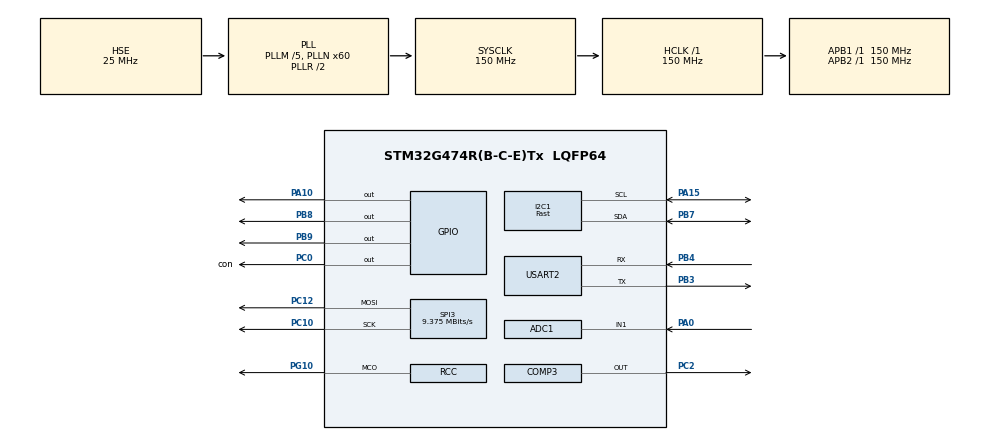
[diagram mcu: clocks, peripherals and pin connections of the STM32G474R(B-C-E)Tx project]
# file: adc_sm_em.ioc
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ADC1.Channel-1\#ChannelRegularConversion=ADC_CHANNEL_1
ADC1.ClockPrescaler=ADC_CLOCK_ASYNC_DIV1
ADC1.ContinuousConvMode=DISABLE
ADC1.ExternalTrigConv=ADC_EXTERNALTRIG_T6_TRGO
ADC1.NbrOfConversion=1
ADC1.NbrOfConversionFlag=1
ADC1.OffsetNumber-1\#ChannelRegularConversion=ADC_OFFSET_NONE
ADC1.Rank-1\#ChannelRegularConversion=1
ADC1.SamplingTime-1\#ChannelRegularConversion=ADC_SAMPLETIME_2CYCLES_5
ADC1.master=1
COMP3.Hysteresis=COMP_HYSTERESIS_70MV
CRC.CRCLength=CRC_POLYLENGTH_16B
CRC.DefaultInitValueUse=DEFAULT_INIT_VALUE_DISABLE
CRC.DefaultPolynomialUse=DEFAULT_POLYNOMIAL_DISABLE
CRC.GeneratingPolynomial=X12+X5+X0
DAC1.DAC_Trigger_OUT1-DAC_OUT1_Int=DAC_TRIGGER_NONE
Dma.ADC1.1.Direction=DMA_PERIPH_TO_MEMORY
Dma.ADC1.1.EventEnable=DISABLE
Dma.ADC1.1.Instance=DMA1_Channel1
Dma.ADC1.1.MemDataAlignment=DMA_MDATAALIGN_HALFWORD
Dma.ADC1.1.MemInc=DMA_MINC_ENABLE
Dma.ADC1.1.Mode=DMA_NORMAL
Dma.ADC1.1.PeriphDataAlignment=DMA_PDATAALIGN_HALFWORD
Dma.ADC1.1.PeriphInc=DMA_PINC_DISABLE
Dma.ADC1.1.Polarity=HAL_DMAMUX_REQ_GEN_RISING
Dma.ADC1.1.Priority=DMA_PRIORITY_LOW
Dma.ADC1.1.RequestNumber=1
Dma.ADC1.1.SignalID=NONE
Dma.ADC1.1.SyncEnable=DISABLE
Dma.ADC1.1.SyncPolarity=HAL_DMAMUX_SYNC_NO_EVENT
Dma.ADC1.1.SyncRequestNumber=1
Dma.ADC1.1.SyncSignalID=NONE
Dma.Request0=USART2_RX
Dma.Request1=ADC1
Dma.Request2=TIM2_CH1
Dma.TIM2_CH1.2.Direction=DMA_PERIPH_TO_MEMORY
Dma.TIM2_CH1.2.EventEnable=DISABLE
Dma.TIM2_CH1.2.Instance=DMA1_Channel2
Dma.TIM2_CH1.2.MemDataAlignment=DMA_MDATAALIGN_WORD
Dma.TIM2_CH1.2.MemInc=DMA_MINC_ENABLE
Dma.TIM2_CH1.2.Mode=DMA_NORMAL
Dma.TIM2_CH1.2.PeriphDataAlignment=DMA_PDATAALIGN_WORD
Dma.TIM2_CH1.2.PeriphInc=DMA_PINC_DISABLE
Dma.TIM2_CH1.2.Polarity=HAL_DMAMUX_REQ_GEN_RISING
Dma.TIM2_CH1.2.Priority=DMA_PRIORITY_HIGH
Dma.TIM2_CH1.2.RequestNumber=1
Dma.TIM2_CH1.2.SignalID=NONE
Dma.TIM2_CH1.2.SyncEnable=DISABLE
Dma.TIM2_CH1.2.SyncPolarity=HAL_DMAMUX_SYNC_NO_EVENT
Dma.TIM2_CH1.2.SyncRequestNumber=1
Dma.TIM2_CH1.2.SyncSignalID=NONE
Dma.USART2_RX.0.Direction=DMA_PERIPH_TO_MEMORY
Dma.USART2_RX.0.EventEnable=DISABLE
Dma.USART2_RX.0.Instance=DMA2_Channel8
Dma.USART2_RX.0.MemDataAlignment=DMA_MDATAALIGN_BYTE
Dma.USART2_RX.0.MemInc=DMA_MINC_ENABLE
Dma.USART2_RX.0.Mode=DMA_NORMAL
Dma.USART2_RX.0.PeriphDataAlignment=DMA_PDATAALIGN_BYTE
Dma.USART2_RX.0.PeriphInc=DMA_PINC_DISABLE
Dma.USART2_RX.0.Polarity=HAL_DMAMUX_REQ_GEN_RISING
Dma.USART2_RX.0.Priority=DMA_PRIORITY_LOW
Dma.USART2_RX.0.RequestNumber=1
Dma.USART2_RX.0.SignalID=NONE
Dma.USART2_RX.0.SyncEnable=DISABLE
Dma.USART2_RX.0.SyncPolarity=HAL_DMAMUX_SYNC_NO_EVENT
Dma.USART2_RX.0.SyncRequestNumber=1
Dma.USART2_RX.0.SyncSignalID=NONE
I2C1.I2C_Speed_Mode=I2C_Fast
I2C1.Timing=0x10E32879
Mcu.Family=STM32G4
Mcu.Name=STM32G474R(B-C-E)Tx
Mcu.Package=LQFP64
NVIC.DMA1_Channel1_IRQn=true\:0\:0\:false\:false\:true\:false\:true\:true
NVIC.DMA1_Channel2_IRQn=true\:0\:0\:false\:false\:true\:false\:true\:true
NVIC.DMA2_Channel8_IRQn=true\:0\:0\:false\:false\:true\:false\:true\:true
NVIC.PriorityGroup=NVIC_PRIORITYGROUP_4
NVIC.USART2_IRQn=true\:0\:0\:false\:false\:true\:true\:true\:true
PA0.Signal=SharedAnalog_PA0
PA10.Signal=GPIO_Output
PA13.Mode=Serial_Wire
PA13.Signal=SYS_JTMS-SWDIO
PA14.Mode=Serial_Wire
PA14.Signal=SYS_JTCK-SWCLK
PA15.Mode=I2C
PA15.Signal=I2C1_SCL
PB3.Mode=Asynchronous
PB3.Signal=USART2_TX
PB4.Mode=Asynchronous
PB4.Signal=USART2_RX
PB7.Mode=I2C
PB7.Signal=I2C1_SDA
PB8-BOOT0.Signal=GPIO_Output
PB9.Signal=GPIO_Output
PC0.GPIO_Label=con
PC0.Signal=GPIO_Output
PC10.Mode=TX_Only_Simplex_Unidirect_Master
PC10.Signal=SPI3_SCK
PC12.Mode=TX_Only_Simplex_Unidirect_Master
PC12.Signal=SPI3_MOSI
PC2.Mode=ExternalOutput
PC2.Signal=COMP3_OUT
PF0-OSC_IN.Mode=HSE-External-Oscillator
PF0-OSC_IN.Signal=RCC_OSC_IN
PF1-OSC_OUT.Mode=HSE-External-Oscillator
PF1-OSC_OUT.Signal=RCC_OSC_OUT
PG10-NRST.Mode=Clock-out
PG10-NRST.Signal=RCC_MCO
ProjectManager.HeapSize=0x200
ProjectManager.StackSize=0x400
ProjectManager.TargetToolchain=STM32CubeIDE
RCC.ADC12CLockSelection=RCC_ADC12CLKSOURCE_PLL
RCC.ADC12Freq_Value=60000000
RCC.ADC345Freq_Value=150000000
RCC.AHBFreq_Value=150000000
RCC.APB1Freq_Value=150000000
RCC.APB1TimFreq_Value=150000000
RCC.APB2Freq_Value=150000000
RCC.APB2TimFreq_Value=150000000
RCC.CortexFreq_Value=150000000
RCC.EXTERNAL_CLOCK_VALUE=12288000
RCC.HCLKFreq_Value=150000000
RCC.HSE_VALUE=25000000
RCC.HSI48_VALUE=48000000
RCC.HSI_VALUE=16000000
RCC.LSE_VALUE=32768
RCC.PLLM=RCC_PLLM_DIV5
RCC.PLLN=60
RCC.PLLP=RCC_PLLP_DIV5
RCC.PLLSourceVirtual=RCC_PLLSOURCE_HSE
RCC.RCC_MCO1Source=RCC_MCO1SOURCE_HSE
RCC.SYSCLKFreq_VALUE=150000000
RCC.SYSCLKSource=RCC_SYSCLKSOURCE_PLLCLK
RCC.USART2CLockSelection=RCC_USART2CLKSOURCE_SYSCLK
RCC.USBFreq_Value=150000000
RCC.VCOOutputFreq_Value=300000000
SH.SharedAnalog_PA0.0=ADC1_IN1,IN1-Single-Ended
SH.SharedAnalog_PA0.1=COMP3_INP,INP
SPI3.BaudRatePrescaler=SPI_BAUDRATEPRESCALER_16
SPI3.CalculateBaudRate=9.375 MBits/s
SPI3.DataSize=SPI_DATASIZE_8BIT
SPI3.Direction=SPI_DIRECTION_2LINES
SPI3.Mode=SPI_MODE_MASTER
SPI3.VirtualType=VM_MASTER
TIM2.Channel-Input_Capture1_from_TI1_REMAP_TIM2=TIM_CHANNEL_1
TIM2.TIM2_TI1_REMAP-Input_Capture1_from_TI1_REMAP_TIM2=TIM_TIM2_TI1_COMP3
TIM6.PeriodNoDither=150-1
TIM6.TIM_MasterOutputTrigger=TIM_TRGO_UPDATE
USART2.VirtualMode-Asynchronous=VM_ASYNC
VP_COMP3_VS_DAC1OUT1.Mode=INM_DAC1OUT1
VP_CRC_VS_CRC.Mode=CRC_Activate
VP_DAC1_VS_DACI1.Mode=DAC_OUT1_Int
VP_SYS_VS_DBSignals.Mode=DisableDeadBatterySignals
VP_TIM2_VS_ClockSourceINT.Mode=Internal
VP_TIM2_VS_NoInput1.Mode=Input_Capture1_from_TI1_REMAP_TIM2
VP_TIM3_VS_ClockSourceINT.Mode=Internal
VP_TIM6_VS_ClockSourceINT.Mode=Enable_Timer
board=custom

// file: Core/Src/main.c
/* USER CODE BEGIN Header */
/**
  ******************************************************************************
  * @file           : main.c
  * @brief          : Main program body
  ******************************************************************************
  * @attention
  *
  * Copyright (c) 2024 STMicroelectronics.
  * All rights reserved.
  *
  * This software is licensed under terms that can be found in the LICENSE file
  * in the root directory of this software component.
  * If no LICENSE file comes with this software, it is provided AS-IS.
  *
  ******************************************************************************
  */
/* USER CODE END Header */
#include "main.h"

/* USER CODE BEGIN Includes */
#include "uart_reg.h"
#include "stm32g4xx_ll_spi.h"
#include "stm32g4xx_ll_gpio.h"
#include "arm_math.h"
#include "measure.h"
/* USER CODE END Includes */

/* USER CODE BEGIN PTD */
float32_t FFT_Input_Q15_f[50];
float32_t aFFT_Input_Q15[50];
#define FFT_Length  1024
/* USER CODE END PTD */

ADC_HandleTypeDef hadc1;
DMA_HandleTypeDef hdma_adc1;

COMP_HandleTypeDef hcomp3;

CRC_HandleTypeDef hcrc;

DAC_HandleTypeDef hdac1;

I2C_HandleTypeDef hi2c1;

SPI_HandleTypeDef hspi3;

TIM_HandleTypeDef htim2;
TIM_HandleTypeDef htim3;
TIM_HandleTypeDef htim6;
DMA_HandleTypeDef hdma_tim2_ch1;

UART_HandleTypeDef huart2;
DMA_HandleTypeDef hdma_usart2_rx;

void SystemClock_Config(void);
static void MX_GPIO_Init(void);
static void MX_DMA_Init(void);
static void MX_CRC_Init(void);
static void MX_USART2_UART_Init(void);
static void MX_ADC1_Init(void);
static void MX_SPI3_Init(void);
static void MX_TIM6_Init(void);
static void MX_I2C1_Init(void);
static void MX_DAC1_Init(void);
static void MX_COMP3_Init(void);
static void MX_TIM3_Init(void);
static void MX_TIM2_Init(void);
/* USER CODE BEGIN PFP */

void gpio_handler(uint8_t* data, size_t size)
{
  // format: PA<0/00-15>:<0/1/A>
  char port_id = data[1];
  int pin_num;
  char level;
  if (data[3] == ':')
  {
    pin_num = data[2] - '0';
    level = data[4];
  }
  else
  {
    pin_num = (data[2]-'0') * 10 + (data[3]-'0');
    level = data[5];
  }
  GPIO_TypeDef* port = 0;
  switch (port_id)
  {
  case 'A':
    port = GPIOA;
    break;
  case 'B':
    port = GPIOB;
    break;
  case 'C':
    port = GPIOC;
    break;
  case 'D':
    port = GPIOD;
    break;
  }
  if (level == '1')
    level = 1;
//  else if (level == 'A')
//    level = 2;
  else
    level = 0;
  if (port)
  {
//    if (level < 2)
//    {
//      LL_GPIO_SetPinMode(port, 1 << pin_num, LL_GPIO_MODE_OUTPUT);
      HAL_GPIO_WritePin(port, 1 << pin_num, level ? GPIO_PIN_SET : GPIO_PIN_RESET);
//    }
//    else
//    {
//      LL_GPIO_SetPinMode(port, 1 << pin_num, LL_GPIO_MODE_ALTERNATE);
//    }
  }
}

void spi_handler(uint8_t* data, size_t size)
{
  SPI_HandleTypeDef* hspi = &hspi3;
  if (data[0] == 'M')
  {
    // format: M<CPOL><CPHA>
    uint32_t cpol = data[1] == '1' ? SPI_POLARITY_HIGH : SPI_POLARITY_LOW;
    uint32_t cpha = data[2] == '1' ? SPI_PHASE_2EDGE : SPI_PHASE_1EDGE;
    LL_SPI_SetClockPolarity(hspi->Instance, cpol);
    LL_SPI_SetClockPhase(hspi->Instance, cpha);
    LL_SPI_Enable(hspi->Instance);
    LL_SPI_Disable(hspi->Instance);
  }
  else if (data[0] == 'W')
  {
    // format: W<CONTENT(binary)>
    HAL_SPI_Transmit(hspi, data+1, size-1, 1000);
  }
//  else if (data[0] == 'R')
//  {
//    // format: R<LENGTH(binary)>
//    // return: <CONTENT(binary)>
//    uint8_t buffer[100];
//    HAL_SPI_Receive(hspi, buffer, data[1], 1000);
//    HAL_UART_Transmit(&huart2, buffer, data[1], 1000);
//  }
}
/*
 * define 2 mode:
 * 1. write: "W" data[0] = 'W' if W: data[1] = addr data[2:] = the content you want to write
 * 2. read: "R" data[0] = 'R' if R: data[1] = addr data[2] = length
 */
void i2c_handler(uint8_t * data, size_t size)
{
	if (data[0] == 'W')
	{
		uint8_t result = 0;
		if (HAL_I2C_Master_Transmit(&hi2c1, data[1], data+2 , size - 2, size) !=  HAL_OK)
		{
			result = -1 ;
		}
		uart_transmit(&result, 1);
	}
	else if (data[0] == 'R')
	{
		uint8_t length = data[2];
		if (length > 16)
			length = 16;
		uint8_t i2c_buffer[17];
		i2c_buffer[0] = 0;

		if (HAL_I2C_Master_Receive(&hi2c1, data[1], i2c_buffer + 1, length , length + 1) != HAL_OK)
		{
			i2c_buffer[0] = -1;
		}
		uart_transmit(i2c_buffer, length + 1);
	}
}
uint8_t adc_buffer[2050];
//int adc_ongoing = 0;
void HAL_ADC_ConvCpltCallback(ADC_HandleTypeDef *hadc)
{
	if (hadc != &hadc1)
		return;
	adc_ongoing = 0;
	HAL_ADC_Stop_DMA(hadc);
	HAL_TIM_Base_Stop(&htim6);
}
uint8_t adc_buffer1[1025] = {0};
uint8_t adc_buffer2[1025] = {0};
uint8_t hello[] = "hello world!";
void split()
{
	for (int i = 0 ; i < 1025; ++i)
	{
		adc_buffer1[i] = adc_buffer[i] >> 8;
		adc_buffer2[i] = adc_buffer[i] & 0x00ff;
	}
}
GPIO_PinState prevalue;
void HAL_TIM_IC_CaptureCallback(TIM_HandleTypeDef *htim)
{
  if (htim == &htim2)
  {
    ic_ongoing = 0;
    HAL_TIM_IC_Stop_DMA(&htim3, TIM_CHANNEL_1);
  }
}
void HAL_TIM_PeriodElapsedCallback (TIM_HandleTypeDef * htim)
{
	if (htim != &htim3)
	{
		return ;
	}
	yichu_counter++;
}
void uart_transmit_f(float freq)
{
	uint8_t freq_8[4];
	uint32_t tmp = (int)(freq * 1e6);
	freq_8[0] = (tmp >> 24) & 0xFF;
	freq_8[1] = (tmp >> 16) & 0xFF;
	freq_8[2] = (tmp >> 8) & 0xFF;
	freq_8[3] = tmp & 0xFF;
	uart_transmit(freq_8, 4);
}
/* USER CODE END PFP */

int main(void)
{

  /* MCU Configuration--------------------------------------------------------*/

  /* Reset of all peripherals, Initializes the Flash interface and the Systick. */
  HAL_Init();

  /* Configure the system clock */
  SystemClock_Config();

  /* Initialize all configured peripherals */
  MX_GPIO_Init();
  MX_DMA_Init();
  MX_CRC_Init();
  MX_USART2_UART_Init();
  MX_ADC1_Init();
  MX_SPI3_Init();
  MX_TIM6_Init();
  MX_I2C1_Init();
  MX_DAC1_Init();
  MX_COMP3_Init();
  MX_TIM3_Init();
  MX_TIM2_Init();
  /* USER CODE BEGIN 2 */
  //HAL_ADC_Start_DMA(&hadc1, (uint32_t *) adc_buffer, 1025);
  uart_init();
  uart_register_handler("GPIO", gpio_handler);
  uart_register_handler("SPI", spi_handler);
  uart_register_handler("I2C", i2c_handler);
//  HAL_ADC_StartSampling(&hadc1);
//  HAL_ADC_PollForConversion(hadc, Timeout);
//  HAL_ADC_GetValue(hadc)
  prevalue = HAL_GPIO_ReadPin(con_GPIO_Port, con_Pin);
//arm_float_to_q15((float32_t *)&FFT_Input_Q15_f[0], (q15_t *)&aFFT_Input_Q15[0], FFT_Length*2);
  /* USER CODE END 2 */

  /* Infinite loop */
  while (1)
  {

    /* USER CODE BEGIN 3 */
	  if (HAL_GPIO_ReadPin(con_GPIO_Port,con_Pin) != prevalue)
	  {

//
//		  HAL_TIM_Base_Start(&htim6);
//
//		  HAL_ADC_Start_DMA(&hadc1, (uint32_t *) adc_buffer, 2050);
//
//		  adc_ongoing = 1;
//		  while (adc_ongoing)
//			  ;
//		  uart_transmit(adc_buffer,2050);
		  //split();
		  set_sm_freq(1e6 , &htim6);
		  samp(adc_buffer, 1025, &htim6, &hadc1);
		  uint16_t temp_buffer[1025];
		  make_8to16(adc_buffer, 2050,temp_buffer );
		  uint16_t threshold = get_max_min(temp_buffer, 1025);
		  uint32_t freq_data[900];
//		  float *in_data = temp_buffer + 1;
//		  float out_data[1024] = {0.f};
//		  float mo[512] = {0};
//		  uint32_t index = 0;
//		  float max_value = 0;
		  float freq = get_freq(&hcomp3, &hdac1, DAC_CHANNEL_1, DAC_ALIGN_12B_R, threshold,
				  &htim2, TIM_CHANNEL_1,freq_data , 900 , &htim2);
//		  if (freq < 0.01)
//			  freq = get_freq_low(&hcomp3, &hdac1, DAC_CHANNEL_1, DAC_ALIGN_12B_R, threshold,
//					  &htim3, TIM_CHANNEL_1,freq_data , 1896 , &htim2);

//		  uint8_t freq_8[4];
//		  uint32_t tmp = (int)(freq * 1e6);
//		  freq_8[0] = (tmp >> 24) & 0xFF;
//		  freq_8[1] = (tmp >> 16) & 0xFF;
//		  freq_8[2] = (tmp >> 8) & 0xFF;
//		  freq_8[3] = tmp & 0xFF;
//
//		  uart_transmit(freq_8, 4);
		  uart_transmit_f(freq);
//		  fft_to_1024(in_data, out_data, mo, index, max_value);
//		  float freq_fft = index / 1024 * 1e6;
//		  uart_transmit_f(freq_fft);
		  set_sm_freq(get_fit_sm_hz(freq) , &htim6);
		  samp(adc_buffer, 1025, &htim6, &hadc1);
		  uart_transmit(adc_buffer, 2050);
		  //uart_transmit(&freq,1);
	  }
	  prevalue = HAL_GPIO_ReadPin(con_GPIO_Port, con_Pin);

	  //uart_transmit(adc_buffer2,1025);
  }
  /* USER CODE END 3 */
}

void SystemClock_Config(void)
{
  RCC_OscInitTypeDef RCC_OscInitStruct = {0};
  RCC_ClkInitTypeDef RCC_ClkInitStruct = {0};

  /** Configure the main internal regulator output voltage
  */
  HAL_PWREx_ControlVoltageScaling(PWR_REGULATOR_VOLTAGE_SCALE1);

  /** Initializes the RCC Oscillators according to the specified parameters
  * in the RCC_OscInitTypeDef structure.
  */
  RCC_OscInitStruct.OscillatorType = RCC_OSCILLATORTYPE_HSE;
  RCC_OscInitStruct.HSEState = RCC_HSE_ON;
  RCC_OscInitStruct.PLL.PLLState = RCC_PLL_ON;
  RCC_OscInitStruct.PLL.PLLSource = RCC_PLLSOURCE_HSE;
  RCC_OscInitStruct.PLL.PLLM = RCC_PLLM_DIV5;
  RCC_OscInitStruct.PLL.PLLN = 60;
  RCC_OscInitStruct.PLL.PLLP = RCC_PLLP_DIV5;
  RCC_OscInitStruct.PLL.PLLQ = RCC_PLLQ_DIV2;
  RCC_OscInitStruct.PLL.PLLR = RCC_PLLR_DIV2;
  if (HAL_RCC_OscConfig(&RCC_OscInitStruct) != HAL_OK)
  {
    Error_Handler();
  }

  /** Initializes the CPU, AHB and APB buses clocks
  */
  RCC_ClkInitStruct.ClockType = RCC_CLOCKTYPE_HCLK|RCC_CLOCKTYPE_SYSCLK
                              |RCC_CLOCKTYPE_PCLK1|RCC_CLOCKTYPE_PCLK2;
  RCC_ClkInitStruct.SYSCLKSource = RCC_SYSCLKSOURCE_PLLCLK;
  RCC_ClkInitStruct.AHBCLKDivider = RCC_SYSCLK_DIV1;
  RCC_ClkInitStruct.APB1CLKDivider = RCC_HCLK_DIV1;
  RCC_ClkInitStruct.APB2CLKDivider = RCC_HCLK_DIV1;

  if (HAL_RCC_ClockConfig(&RCC_ClkInitStruct, FLASH_LATENCY_4) != HAL_OK)
  {
    Error_Handler();
  }
  HAL_RCC_MCOConfig(RCC_MCO_PG10, RCC_MCO1SOURCE_HSE, RCC_MCODIV_1);
}

static void MX_ADC1_Init(void)
{

  ADC_MultiModeTypeDef multimode = {0};
  ADC_ChannelConfTypeDef sConfig = {0};

  /** Common config
  */
  hadc1.Instance = ADC1;
  hadc1.Init.ClockPrescaler = ADC_CLOCK_ASYNC_DIV1;
  hadc1.Init.Resolution = ADC_RESOLUTION_12B;
  hadc1.Init.DataAlign = ADC_DATAALIGN_RIGHT;
  hadc1.Init.GainCompensation = 0;
  hadc1.Init.ScanConvMode = ADC_SCAN_DISABLE;
  hadc1.Init.EOCSelection = ADC_EOC_SINGLE_CONV;
  hadc1.Init.LowPowerAutoWait = DISABLE;
  hadc1.Init.ContinuousConvMode = DISABLE;
  hadc1.Init.NbrOfConversion = 1;
  hadc1.Init.DiscontinuousConvMode = DISABLE;
  hadc1.Init.ExternalTrigConv = ADC_EXTERNALTRIG_T6_TRGO;
  hadc1.Init.ExternalTrigConvEdge = ADC_EXTERNALTRIGCONVEDGE_RISING;
  hadc1.Init.DMAContinuousRequests = DISABLE;
  hadc1.Init.Overrun = ADC_OVR_DATA_PRESERVED;
  hadc1.Init.OversamplingMode = DISABLE;
  if (HAL_ADC_Init(&hadc1) != HAL_OK)
  {
    Error_Handler();
  }

  /** Configure the ADC multi-mode
  */
  multimode.Mode = ADC_MODE_INDEPENDENT;
  if (HAL_ADCEx_MultiModeConfigChannel(&hadc1, &multimode) != HAL_OK)
  {
    Error_Handler();
  }

  /** Configure Regular Channel
  */
  sConfig.Channel = ADC_CHANNEL_1;
  sConfig.Rank = ADC_REGULAR_RANK_1;
  sConfig.SamplingTime = ADC_SAMPLETIME_2CYCLES_5;
  sConfig.SingleDiff = ADC_SINGLE_ENDED;
  sConfig.OffsetNumber = ADC_OFFSET_NONE;
  sConfig.Offset = 0;
  if (HAL_ADC_ConfigChannel(&hadc1, &sConfig) != HAL_OK)
  {
    Error_Handler();
  }

}

static void MX_COMP3_Init(void)
{

  hcomp3.Instance = COMP3;
  hcomp3.Init.InputPlus = COMP_INPUT_PLUS_IO1;
  hcomp3.Init.InputMinus = COMP_INPUT_MINUS_DAC1_CH1;
  hcomp3.Init.OutputPol = COMP_OUTPUTPOL_NONINVERTED;
  hcomp3.Init.Hysteresis = COMP_HYSTERESIS_70MV;
  hcomp3.Init.BlankingSrce = COMP_BLANKINGSRC_NONE;
  hcomp3.Init.TriggerMode = COMP_TRIGGERMODE_NONE;
  if (HAL_COMP_Init(&hcomp3) != HAL_OK)
  {
    Error_Handler();
  }

}

static void MX_CRC_Init(void)
{

  hcrc.Instance = CRC;
  hcrc.Init.DefaultPolynomialUse = DEFAULT_POLYNOMIAL_DISABLE;
  hcrc.Init.DefaultInitValueUse = DEFAULT_INIT_VALUE_DISABLE;
  hcrc.Init.GeneratingPolynomial = 4129;
  hcrc.Init.CRCLength = CRC_POLYLENGTH_16B;
  hcrc.Init.InitValue = 0;
  hcrc.Init.InputDataInversionMode = CRC_INPUTDATA_INVERSION_NONE;
  hcrc.Init.OutputDataInversionMode = CRC_OUTPUTDATA_INVERSION_DISABLE;
  hcrc.InputDataFormat = CRC_INPUTDATA_FORMAT_BYTES;
  if (HAL_CRC_Init(&hcrc) != HAL_OK)
  {
    Error_Handler();
  }

}

static void MX_DAC1_Init(void)
{

  DAC_ChannelConfTypeDef sConfig = {0};

  /** DAC Initialization
  */
  hdac1.Instance = DAC1;
  if (HAL_DAC_Init(&hdac1) != HAL_OK)
  {
    Error_Handler();
  }

  /** DAC channel OUT1 config
  */
  sConfig.DAC_HighFrequency = DAC_HIGH_FREQUENCY_INTERFACE_MODE_AUTOMATIC;
  sConfig.DAC_DMADoubleDataMode = DISABLE;
  sConfig.DAC_SignedFormat = DISABLE;
  sConfig.DAC_SampleAndHold = DAC_SAMPLEANDHOLD_DISABLE;
  sConfig.DAC_Trigger = DAC_TRIGGER_NONE;
  sConfig.DAC_Trigger2 = DAC_TRIGGER_NONE;
  sConfig.DAC_OutputBuffer = DAC_OUTPUTBUFFER_DISABLE;
  sConfig.DAC_ConnectOnChipPeripheral = DAC_CHIPCONNECT_INTERNAL;
  sConfig.DAC_UserTrimming = DAC_TRIMMING_FACTORY;
  if (HAL_DAC_ConfigChannel(&hdac1, &sConfig, DAC_CHANNEL_1) != HAL_OK)
  {
    Error_Handler();
  }

}

static void MX_I2C1_Init(void)
{

  hi2c1.Instance = I2C1;
  hi2c1.Init.Timing = 0x10E32879;
  hi2c1.Init.OwnAddress1 = 0;
  hi2c1.Init.AddressingMode = I2C_ADDRESSINGMODE_7BIT;
  hi2c1.Init.DualAddressMode = I2C_DUALADDRESS_DISABLE;
  hi2c1.Init.OwnAddress2 = 0;
  hi2c1.Init.OwnAddress2Masks = I2C_OA2_NOMASK;
  hi2c1.Init.GeneralCallMode = I2C_GENERALCALL_DISABLE;
  hi2c1.Init.NoStretchMode = I2C_NOSTRETCH_DISABLE;
  if (HAL_I2C_Init(&hi2c1) != HAL_OK)
  {
    Error_Handler();
  }

  /** Configure Analogue filter
  */
  if (HAL_I2CEx_ConfigAnalogFilter(&hi2c1, I2C_ANALOGFILTER_ENABLE) != HAL_OK)
  {
    Error_Handler();
  }

  /** Configure Digital filter
  */
  if (HAL_I2CEx_ConfigDigitalFilter(&hi2c1, 0) != HAL_OK)
  {
    Error_Handler();
  }

}

static void MX_SPI3_Init(void)
{

  /* SPI3 parameter configuration*/
  hspi3.Instance = SPI3;
  hspi3.Init.Mode = SPI_MODE_MASTER;
  hspi3.Init.Direction = SPI_DIRECTION_2LINES;
  hspi3.Init.DataSize = SPI_DATASIZE_8BIT;
  hspi3.Init.CLKPolarity = SPI_POLARITY_LOW;
  hspi3.Init.CLKPhase = SPI_PHASE_1EDGE;
  hspi3.Init.NSS = SPI_NSS_SOFT;
  hspi3.Init.BaudRatePrescaler = SPI_BAUDRATEPRESCALER_16;
  hspi3.Init.FirstBit = SPI_FIRSTBIT_MSB;
  hspi3.Init.TIMode = SPI_TIMODE_DISABLE;
  hspi3.Init.CRCCalculation = SPI_CRCCALCULATION_DISABLE;
  hspi3.Init.CRCPolynomial = 7;
  hspi3.Init.CRCLength = SPI_CRC_LENGTH_DATASIZE;
  hspi3.Init.NSSPMode = SPI_NSS_PULSE_ENABLE;
  if (HAL_SPI_Init(&hspi3) != HAL_OK)
  {
    Error_Handler();
  }

}

static void MX_TIM2_Init(void)
{

  TIM_ClockConfigTypeDef sClockSourceConfig = {0};
  TIM_MasterConfigTypeDef sMasterConfig = {0};
  TIM_IC_InitTypeDef sConfigIC = {0};

  htim2.Instance = TIM2;
  htim2.Init.Prescaler = 0;
  htim2.Init.CounterMode = TIM_COUNTERMODE_UP;
  htim2.Init.Period = 4294967295;
  htim2.Init.ClockDivision = TIM_CLOCKDIVISION_DIV1;
  htim2.Init.AutoReloadPreload = TIM_AUTORELOAD_PRELOAD_DISABLE;
  if (HAL_TIM_Base_Init(&htim2) != HAL_OK)
  {
    Error_Handler();
  }
  sClockSourceConfig.ClockSource = TIM_CLOCKSOURCE_INTERNAL;
  if (HAL_TIM_ConfigClockSource(&htim2, &sClockSourceConfig) != HAL_OK)
  {
    Error_Handler();
  }
  if (HAL_TIM_IC_Init(&htim2) != HAL_OK)
  {
    Error_Handler();
  }
  sMasterConfig.MasterOutputTrigger = TIM_TRGO_RESET;
  sMasterConfig.MasterSlaveMode = TIM_MASTERSLAVEMODE_DISABLE;
  if (HAL_TIMEx_MasterConfigSynchronization(&htim2, &sMasterConfig) != HAL_OK)
  {
    Error_Handler();
  }
  sConfigIC.ICPolarity = TIM_INPUTCHANNELPOLARITY_RISING;
  sConfigIC.ICSelection = TIM_ICSELECTION_DIRECTTI;
  sConfigIC.ICPrescaler = TIM_ICPSC_DIV1;
  sConfigIC.ICFilter = 0;
  if (HAL_TIM_IC_ConfigChannel(&htim2, &sConfigIC, TIM_CHANNEL_1) != HAL_OK)
  {
    Error_Handler();
  }
  if (HAL_TIMEx_TISelection(&htim2, TIM_TIM2_TI1_COMP3, TIM_CHANNEL_1) != HAL_OK)
  {
    Error_Handler();
  }

}

static void MX_TIM3_Init(void)
{

  TIM_ClockConfigTypeDef sClockSourceConfig = {0};
  TIM_MasterConfigTypeDef sMasterConfig = {0};

  htim3.Instance = TIM3;
  htim3.Init.Prescaler = 0;
  htim3.Init.CounterMode = TIM_COUNTERMODE_UP;
  htim3.Init.Period = 65535;
  htim3.Init.ClockDivision = TIM_CLOCKDIVISION_DIV1;
  htim3.Init.AutoReloadPreload = TIM_AUTORELOAD_PRELOAD_DISABLE;
  if (HAL_TIM_Base_Init(&htim3) != HAL_OK)
  {
    Error_Handler();
  }
  sClockSourceConfig.ClockSource = TIM_CLOCKSOURCE_INTERNAL;
  if (HAL_TIM_ConfigClockSource(&htim3, &sClockSourceConfig) != HAL_OK)
  {
    Error_Handler();
  }
  sMasterConfig.MasterOutputTrigger = TIM_TRGO_RESET;
  sMasterConfig.MasterSlaveMode = TIM_MASTERSLAVEMODE_DISABLE;
  if (HAL_TIMEx_MasterConfigSynchronization(&htim3, &sMasterConfig) != HAL_OK)
  {
    Error_Handler();
  }

}

static void MX_TIM6_Init(void)
{

  TIM_MasterConfigTypeDef sMasterConfig = {0};

  htim6.Instance = TIM6;
  htim6.Init.Prescaler = 0;
  htim6.Init.CounterMode = TIM_COUNTERMODE_UP;
  htim6.Init.Period = 149;
  htim6.Init.AutoReloadPreload = TIM_AUTORELOAD_PRELOAD_DISABLE;
  if (HAL_TIM_Base_Init(&htim6) != HAL_OK)
  {
    Error_Handler();
  }
  sMasterConfig.MasterOutputTrigger = TIM_TRGO_UPDATE;
  sMasterConfig.MasterSlaveMode = TIM_MASTERSLAVEMODE_DISABLE;
  if (HAL_TIMEx_MasterConfigSynchronization(&htim6, &sMasterConfig) != HAL_OK)
  {
    Error_Handler();
  }

}

static void MX_USART2_UART_Init(void)
{

  huart2.Instance = USART2;
  huart2.Init.BaudRate = 115200;
  huart2.Init.WordLength = UART_WORDLENGTH_8B;
  huart2.Init.StopBits = UART_STOPBITS_1;
  huart2.Init.Parity = UART_PARITY_NONE;
  huart2.Init.Mode = UART_MODE_TX_RX;
  huart2.Init.HwFlowCtl = UART_HWCONTROL_NONE;
  huart2.Init.OverSampling = UART_OVERSAMPLING_16;
  huart2.Init.OneBitSampling = UART_ONE_BIT_SAMPLE_DISABLE;
  huart2.Init.ClockPrescaler = UART_PRESCALER_DIV1;
  huart2.AdvancedInit.AdvFeatureInit = UART_ADVFEATURE_NO_INIT;
  if (HAL_UART_Init(&huart2) != HAL_OK)
  {
    Error_Handler();
  }
  if (HAL_UARTEx_SetTxFifoThreshold(&huart2, UART_TXFIFO_THRESHOLD_1_8) != HAL_OK)
  {
    Error_Handler();
  }
  if (HAL_UARTEx_SetRxFifoThreshold(&huart2, UART_RXFIFO_THRESHOLD_1_8) != HAL_OK)
  {
    Error_Handler();
  }
  if (HAL_UARTEx_DisableFifoMode(&huart2) != HAL_OK)
  {
    Error_Handler();
  }

}

static void MX_DMA_Init(void)
{

  /* DMA controller clock enable */
  __HAL_RCC_DMAMUX1_CLK_ENABLE();
  __HAL_RCC_DMA2_CLK_ENABLE();
  __HAL_RCC_DMA1_CLK_ENABLE();

  /* DMA interrupt init */
  /* DMA1_Channel1_IRQn interrupt configuration */
  HAL_NVIC_SetPriority(DMA1_Channel1_IRQn, 0, 0);
  HAL_NVIC_EnableIRQ(DMA1_Channel1_IRQn);
  /* DMA1_Channel2_IRQn interrupt configuration */
  HAL_NVIC_SetPriority(DMA1_Channel2_IRQn, 0, 0);
  HAL_NVIC_EnableIRQ(DMA1_Channel2_IRQn);
  /* DMA2_Channel8_IRQn interrupt configuration */
  HAL_NVIC_SetPriority(DMA2_Channel8_IRQn, 0, 0);
  HAL_NVIC_EnableIRQ(DMA2_Channel8_IRQn);

}

static void MX_GPIO_Init(void)
{
  GPIO_InitTypeDef GPIO_InitStruct = {0};

  /* GPIO Ports Clock Enable */
  __HAL_RCC_GPIOF_CLK_ENABLE();
  __HAL_RCC_GPIOG_CLK_ENABLE();
  __HAL_RCC_GPIOC_CLK_ENABLE();
  __HAL_RCC_GPIOA_CLK_ENABLE();
  __HAL_RCC_GPIOB_CLK_ENABLE();

  /*Configure GPIO pin Output Level */
  HAL_GPIO_WritePin(con_GPIO_Port, con_Pin, GPIO_PIN_RESET);

  /*Configure GPIO pin Output Level */
  HAL_GPIO_WritePin(GPIOA, GPIO_PIN_10, GPIO_PIN_RESET);

  /*Configure GPIO pin Output Level */
  HAL_GPIO_WritePin(GPIOB, GPIO_PIN_8|GPIO_PIN_9, GPIO_PIN_RESET);

  /*Configure GPIO pin : PG10 */
  GPIO_InitStruct.Pin = GPIO_PIN_10;
  GPIO_InitStruct.Mode = GPIO_MODE_AF_PP;
  GPIO_InitStruct.Pull = GPIO_NOPULL;
  GPIO_InitStruct.Speed = GPIO_SPEED_FREQ_LOW;
  GPIO_InitStruct.Alternate = GPIO_AF0_MCO;
  HAL_GPIO_Init(GPIOG, &GPIO_InitStruct);

  /*Configure GPIO pin : con_Pin */
  GPIO_InitStruct.Pin = con_Pin;
  GPIO_InitStruct.Mode = GPIO_MODE_OUTPUT_PP;
  GPIO_InitStruct.Pull = GPIO_NOPULL;
  GPIO_InitStruct.Speed = GPIO_SPEED_FREQ_LOW;
  HAL_GPIO_Init(con_GPIO_Port, &GPIO_InitStruct);

  /*Configure GPIO pin : PA10 */
  GPIO_InitStruct.Pin = GPIO_PIN_10;
  GPIO_InitStruct.Mode = GPIO_MODE_OUTPUT_PP;
  GPIO_InitStruct.Pull = GPIO_NOPULL;
  GPIO_InitStruct.Speed = GPIO_SPEED_FREQ_LOW;
  HAL_GPIO_Init(GPIOA, &GPIO_InitStruct);

  /*Configure GPIO pins : PB8 PB9 */
  GPIO_InitStruct.Pin = GPIO_PIN_8|GPIO_PIN_9;
  GPIO_InitStruct.Mode = GPIO_MODE_OUTPUT_PP;
  GPIO_InitStruct.Pull = GPIO_NOPULL;
  GPIO_InitStruct.Speed = GPIO_SPEED_FREQ_LOW;
  HAL_GPIO_Init(GPIOB, &GPIO_InitStruct);

}

void Error_Handler(void)
{
  __disable_irq();
  while (1)
  {
  }
}
